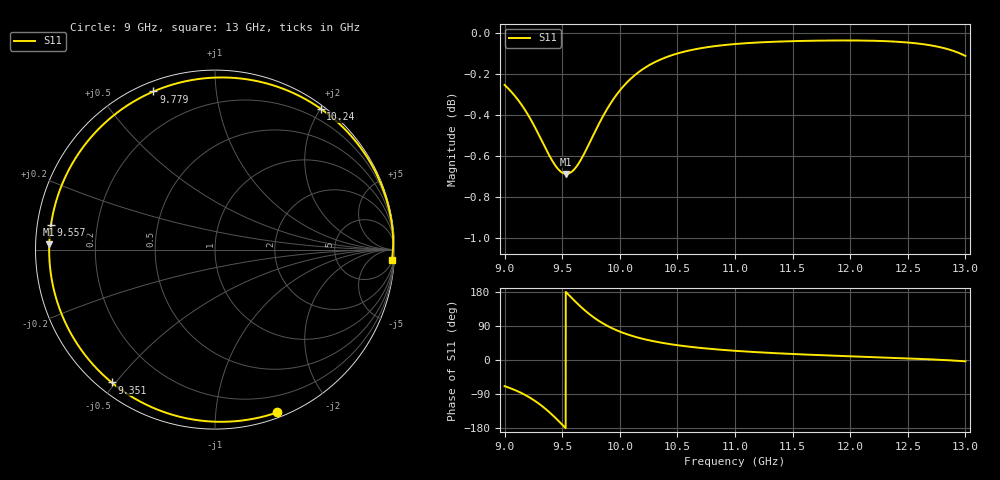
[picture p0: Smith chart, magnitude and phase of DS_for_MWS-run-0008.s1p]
! TOUCHSTONE file generated by CST DESIGN STUDIO
! Date and time: Tue Feb  4 16:22:57 2025
! Project name: C:\Work\MatlabApps\UnitCellOptimizationMatlab\CST\unitcell.cst
! Tree item: Tasks\Sweep1\SPara1\S-Parameters
! Header version: 2024
! Port assignment regex: !\s*Touchstone port\s*([0-9]+)\s*=\s*(CST MWS port|CST DES external port|CST DES block port)\s*(.+)\s* \(\"(.*)\"\)(\s*mode\s*([0-9]+))?.*
! Touchstone port assignment:
! Touchstone port 1 = CST DES external port 1 ("")
# GHz S MA R 50
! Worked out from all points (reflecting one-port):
!   4001 points, 9 GHz to 13 GHz, reference 50 ohm
!   lowest |S11| = -0.7 dB at 9.536 GHz (marker M1), VSWR 25.32, Z = 1.98 + j0.806 ohm
!   phase of S11 starts at -69 deg and turns -294 deg over the sweep
!   S11 on the Smith chart (normalised r, x): 9 GHz: 0.05, -1.45; 9.351 GHz: 0.04, -0.49; 9.557 GHz: 0.04, +0.07; 9.779 GHz: 0.04, +0.68; 10.24 GHz: 0.05, +2.00; 13 GHz: 7, -31
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9  0.9711 -69.0
9.1  0.9644 -80.7
9.208  0.9546 -97.3
9.283  0.9461 -112.0
9.351  0.9379 -127.9
9.392  0.9331 -138.7
9.434  0.9289 -150.6
9.5  0.9246 -170.6
9.536  0.924 178.2
9.557  0.9242 171.6
9.611  0.9268 155.0
9.672  0.9324 137.5
9.725  0.9386 123.7
9.779  0.9454 111.3
9.825  0.951 101.9
9.875  0.9566 92.9
9.937  0.9628 83.2
10  0.9681 74.9
10.112  0.9755 63.1
10.238  0.9813 53.1
10.359  0.9852 45.7
10.5  0.9884 39.1
10.721  0.9915 31.3
11  0.9936 24.3
11.5  0.9952 15.9
12  0.9956 9.8
12.5  0.9945 4.2
13  0.987 -3.5
